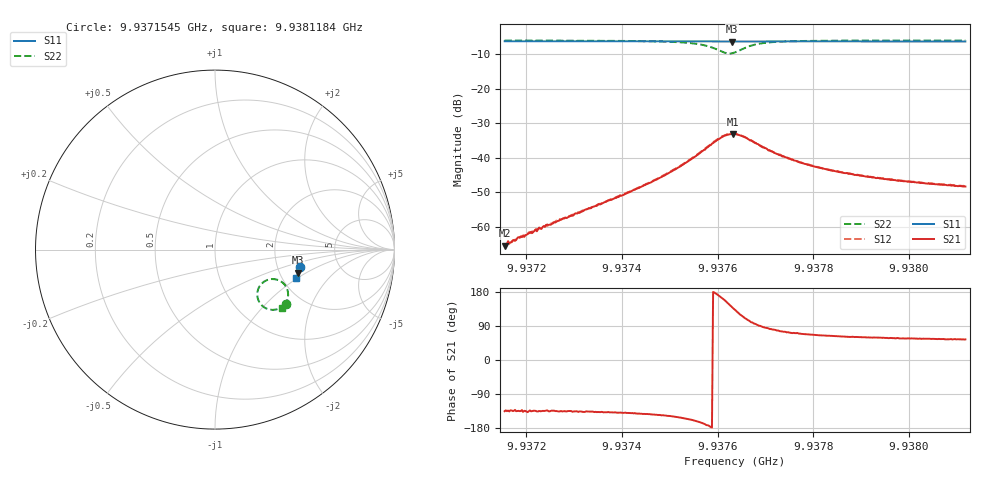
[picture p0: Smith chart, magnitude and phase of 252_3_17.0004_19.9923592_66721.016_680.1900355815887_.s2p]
#  HZ  S  RI  R  50.00
! Rohde & Schwarz Vector Network Analyzer
! Rohde-Schwarz,ZNB20-2Port,1311601062101988,3.16
! Created: UTC 3/20/2024, 11:03:20 PM
! freq[Hz]  re:S11  im:S11  re:S21  im:S21  re:S12  im:S12  re:S22  im:S22
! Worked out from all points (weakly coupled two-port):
!   401 points, 9.9371545 GHz to 9.9381184 GHz, reference 50 ohm
!   highest |S21| = -33.14 dB at 9.9376316 GHz (marker M1); lowest = -65.5 dB at 9.9371545 GHz (marker M2)
!   lowest |S11| = -6.4 dB at 9.9376292 GHz (marker M3), VSWR 2.84, Z = 126 - j41.8 ohm
!   |S11| at or under -10 dB: nowhere
!   |S22| runs from -9.9 to -6.1 dB; largest |S21 - S12| = 0.0009
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9.93715454e9  0.4741 -0.0975  -0.000377 -0.000376  -0.000401 -0.000413  0.3951 -0.3007
9.93716177e9  0.474 -0.0979  -0.000426 -0.00045  -0.000389 -0.000428  0.3944 -0.3011
9.93720273e9  0.4732 -0.1006  -0.00058 -0.00053  -0.00057 -0.000549  0.3914 -0.3044
9.93723887e9  0.4726 -0.1032  -0.000706 -0.000722  -0.000708 -0.000694  0.3883 -0.3072
9.93725092e9  0.4722 -0.1041  -0.000747 -0.000761  -0.0008 -0.000774  0.3872 -0.3083
9.93731598e9  0.471 -0.1084  -0.0012 -0.00114  -0.00126 -0.00114  0.3804 -0.3141
9.93740513e9  0.4691 -0.1144  -0.00222 -0.00193  -0.00231 -0.00192  0.3669 -0.3233
9.93747742e9  0.4675 -0.1192  -0.00413 -0.0029  -0.00425 -0.00286  0.3473 -0.3318
9.93752802e9  0.466 -0.1229  -0.00713 -0.00356  -0.00726 -0.00351  0.3199 -0.3358
9.9375738e9  0.4644 -0.126  -0.0128 -0.00238  -0.0134 -0.00227  0.2723 -0.3202
9.93760754e9  0.4628 -0.1274  -0.0188 0.00496  -0.019 0.0056  0.2355 -0.2533
9.93761958e9  0.4625 -0.1275  -0.0189 0.00998  -0.0189 0.0108  0.2435 -0.2136
9.93762922e9  0.4622 -0.1276  -0.0171 0.0139  -0.0167 0.0147  0.2642 -0.1858
9.93763163e9  0.4622 -0.1277  -0.0163 0.0148  -0.016 0.0155  0.271 -0.1803
9.93763645e9  0.4624 -0.1277  -0.0148 0.0162  -0.0144 0.0168  0.286 -0.1716
9.93766296e9  0.4629 -0.1292  -0.0051 0.018  -0.00453 0.0184  0.3625 -0.1744
9.93769187e9  0.4629 -0.1312  0.000363 0.0145  0.000623 0.0147  0.3982 -0.2117
9.93774247e9  0.462 -0.135  0.00278 0.00975  0.00305 0.00975  0.4074 -0.2557
9.93779789e9  0.461 -0.1389  0.00297 0.00698  0.00316 0.00698  0.4029 -0.2796
9.93786777e9  0.4592 -0.1435  0.00281 0.00525  0.00295 0.00525  0.3956 -0.2962
9.93795933e9  0.457 -0.1496  0.00255 0.00405  0.00267 0.00409  0.3873 -0.3094
9.93811836e9  0.4528 -0.16  0.00222 0.0031  0.00229 0.0031  0.3755 -0.3241
